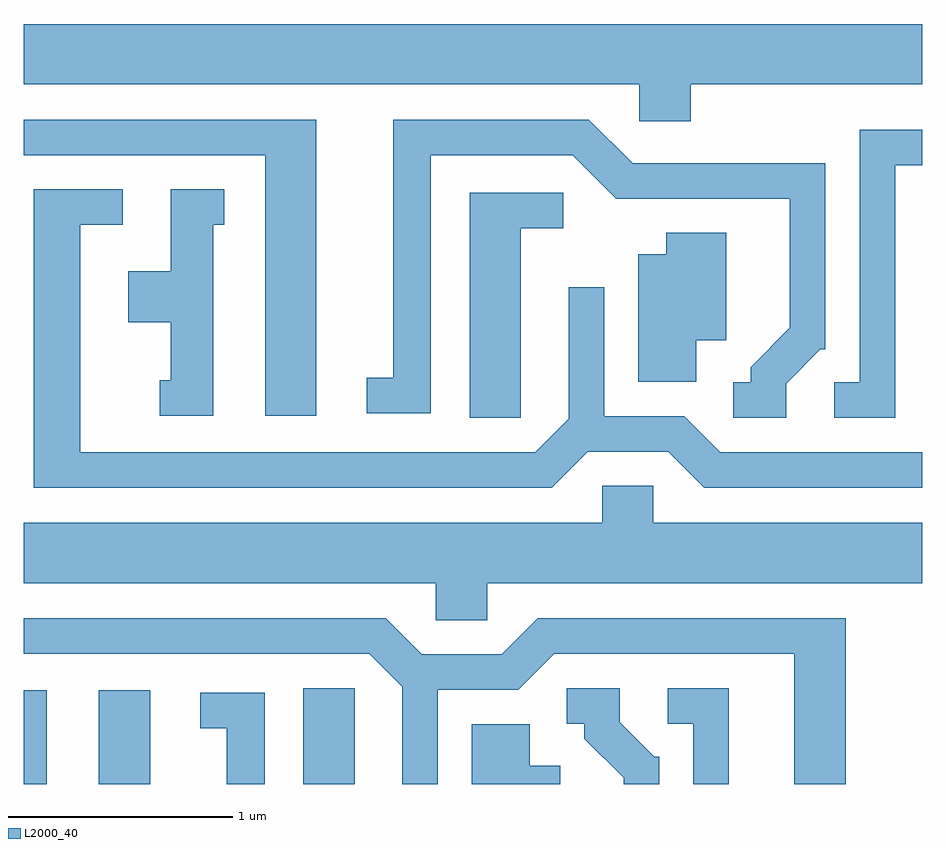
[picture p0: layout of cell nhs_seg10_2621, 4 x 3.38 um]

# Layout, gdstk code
import gdstk
lib = gdstk.Library(unit=1e-6, precision=1e-09)
def R(c, l, rs):  # rectangles x0, y0, x1, y1
    for r in rs: c.add(gdstk.rectangle(r[:2], r[2:], *l))
def P(c, l, *ps):  # polygons
    for p in ps: c.add(gdstk.Polygon(p, *l))
L2000_40 = (2000, 40)

nhs_seg10_2621 = lib.new_cell('nhs_seg10_2621')
R(nhs_seg10_2621, L2000_40, [(261.611,2168.522,261.714,2168.939), (261.946,2168.522,262.174,2168.939), (262.856,2168.522,263.084,2168.949)])
P(nhs_seg10_2621, L2000_40, [(264.579,2171.636),(265.611,2171.636),(265.611,2171.904),(261.611,2171.904),(261.611,2171.636),(264.351,2171.636),(264.351,2171.471),(264.579,2171.471)],
  [(262.914,2171.479),(261.611,2171.479),(261.611,2171.321),(262.686,2171.321),(262.686,2170.161),(262.914,2170.161)],
  [(265.004,2170.304),(265.157,2170.456),(265.179,2170.456),(265.179,2171.284),(264.322,2171.284),(264.127,2171.479),(263.256,2171.479),(263.256,2170.329),(263.138,2170.329),(263.138,2170.171),(263.424,2170.171),(263.424,2171.321),(264.054,2171.321),(264.249,2171.126),(265.021,2171.126),(265.021,2170.552),(264.846,2170.377),(264.846,2170.309),(264.768,2170.309),(264.768,2170.151),(265.004,2170.151)],
  [(265.489,2171.276),(265.611,2171.276),(265.611,2171.434),(265.331,2171.434),(265.331,2170.309),(265.218,2170.309),(265.218,2170.151),(265.489,2170.151)],
  [(262.454,2171.011),(262.503,2171.011),(262.503,2171.169),(262.266,2171.169),(262.266,2170.804),(262.076,2170.804),(262.076,2170.576),(262.266,2170.576),(262.266,2170.319),(262.218,2170.319),(262.218,2170.161),(262.454,2170.161)],
  [(264.122,2170.001),(264.479,2170.001),(264.639,2169.841),(265.611,2169.841),(265.611,2169.999),(264.712,2169.999),(264.552,2170.159),(264.194,2170.159),(264.194,2170.733),(264.036,2170.733),(264.036,2170.147),(263.889,2169.999),(261.864,2169.999),(261.864,2171.011),(262.053,2171.011),(262.053,2171.169),(261.656,2171.169),(261.656,2169.841),(263.962,2169.841)],
  [(263.824,2170.996),(264.013,2170.996),(264.013,2171.154),(263.596,2171.154),(263.596,2170.151),(263.824,2170.151)],
  [(264.604,2170.496),(264.739,2170.496),(264.739,2170.974),(264.471,2170.974),(264.471,2170.879),(264.346,2170.879),(264.346,2170.311),(264.604,2170.311)],
  [(263.674,2169.416),(265.611,2169.416),(265.611,2169.684),(264.414,2169.684),(264.414,2169.849),(264.186,2169.849),(264.186,2169.684),(261.611,2169.684),(261.611,2169.416),(263.446,2169.416),(263.446,2169.251),(263.674,2169.251)],
  [(263.454,2168.941),(263.812,2168.941),(263.972,2169.101),(265.041,2169.101),(265.041,2168.522),(265.269,2168.522),(265.269,2169.259),(263.899,2169.259),(263.739,2169.099),(263.382,2169.099),(263.222,2169.259),(261.611,2169.259),(261.611,2169.101),(263.149,2169.101),(263.296,2168.954),(263.296,2168.522),(263.454,2168.522)],
  [(264.749,2168.949),(264.478,2168.949),(264.478,2168.791),(264.591,2168.791),(264.591,2168.522),(264.749,2168.522)],
  [(264.439,2168.644),(264.417,2168.644),(264.264,2168.797),(264.264,2168.949),(264.028,2168.949),(264.028,2168.791),(264.106,2168.791),(264.106,2168.724),(264.281,2168.549),(264.281,2168.522),(264.439,2168.522)],
  [(262.684,2168.929),(262.398,2168.929),(262.398,2168.771),(262.516,2168.771),(262.516,2168.522),(262.684,2168.522)],
  [(263.999,2168.604),(263.864,2168.604),(263.864,2168.789),(263.606,2168.789),(263.606,2168.522),(263.999,2168.522)])

lib.write_gds('nhs_seg10_2621.gds')
